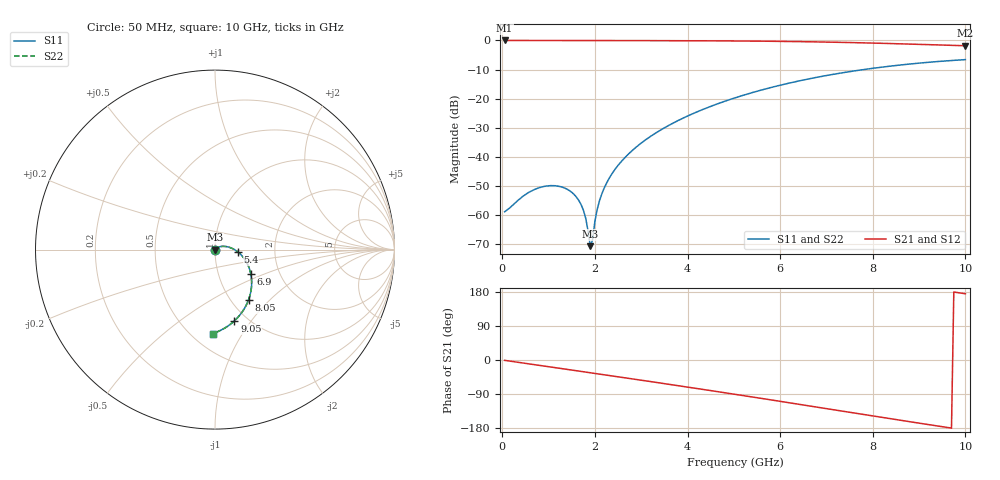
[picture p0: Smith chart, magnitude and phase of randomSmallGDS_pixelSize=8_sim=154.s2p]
! freq	dB(S11)	phase(S11)	dB(S12)	phase(S12)
!  dB(S21)	phase(S21)	dB(S22)	phase(S22)
!S-par simulation data
#  GHz  S  DB  R 50
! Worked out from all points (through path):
!   200 points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, 50 MHz to 10 GHz, reference 50 ohm
!   highest |S21| = -0.01 dB at 50 MHz (marker M1); lowest = -1.8 dB at 10 GHz (marker M2)
!   group delay of S21, straight-line fit = 51.8 ps
!   lowest |S11| = -70.6 dB at 1.9 GHz (marker M3), VSWR 1.00, Z = 50 + j0.00479 ohm
!   |S11| at or under -10 dB: start of sweep to 7.803 GHz
!   |S22| runs from -70.9 to -6.6 dB; largest |S21 - S12| = 0
!   S11 on the Smith chart (normalised r, x): 50 MHz: 1.00, +0.00; 5.4 GHz: 1.29, -0.03; 6.9 GHz: 1.43, -0.41; 8.05 GHz: 1.20, -0.76; 9.05 GHz: 0.87, -0.83; 10 GHz: 0.63, -0.75
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0.05  -58.85 1.9  -0.01 -0.9  -0.01 -0.9  -58.84 1.9
0.6  -51.92 -76.8  -0.02 -10.6  -0.02 -10.6  -51.92 -76.8
1.05  -49.84 -96.4  -0.03 -18.6  -0.03 -18.6  -49.84 -96.3
1.5  -52.12 -110.9  -0.04 -26.5  -0.04 -26.5  -52.12 -110.6
1.65  -54.88 -116.3  -0.04 -29.2  -0.04 -29.2  -54.88 -116.0
1.75  -58.24 -121.7  -0.04 -31.0  -0.04 -31.0  -58.24 -121.1
1.8  -60.96 -126.4  -0.04 -31.8  -0.04 -31.8  -60.97 -125.5
1.9  -70.63 170.6  -0.04 -33.6  -0.04 -33.6  -70.91 170.9
1.95  -68.41 104.0  -0.04 -34.5  -0.04 -34.5  -68.66 102.4
2  -62.08 75.9  -0.05 -35.4  -0.05 -35.4  -62.14 74.7
2.1  -54.99 65.0  -0.05 -37.2  -0.05 -37.2  -55.00 64.4
2.3  -47.55 57.1  -0.05 -40.7  -0.05 -40.7  -47.56 56.8
2.75  -38.61 46.2  -0.06 -48.8  -0.06 -48.8  -38.61 46.0
3.4  -30.94 32.8  -0.08 -60.5  -0.08 -60.5  -30.94 32.7
5.05  -19.59 1.2  -0.19 -91.0  -0.19 -91.0  -19.59 1.2
5.4  -17.90 -5.5  -0.23 -97.6  -0.23 -97.6  -17.90 -5.5
6.7  -12.95 -30.4  -0.48 -122.5  -0.48 -122.5  -12.95 -30.4
6.9  -12.34 -34.3  -0.53 -126.4  -0.53 -126.4  -12.34 -34.3
8.05  -9.47 -56.2  -0.93 -148.6  -0.93 -148.6  -9.47 -56.1
8.35  -8.88 -61.8  -1.05 -154.3  -1.05 -154.3  -8.88 -61.7
9.05  -7.72 -74.7  -1.37 -167.6  -1.37 -167.6  -7.72 -74.7
10  -6.59 -91.7  -1.83 174.8  -1.83 174.8  -6.59 -91.6
